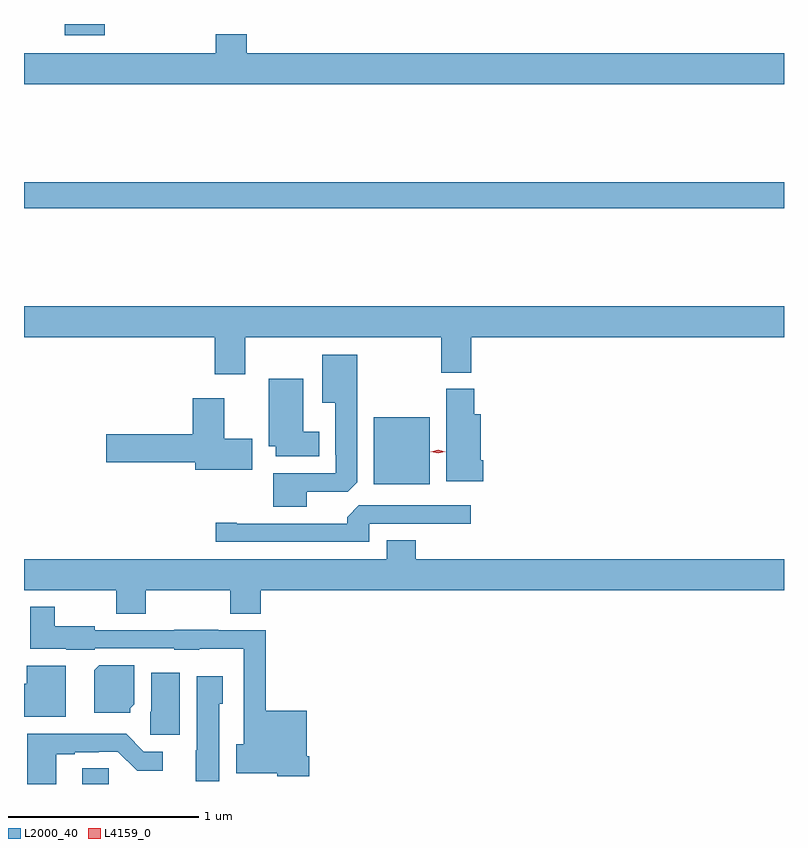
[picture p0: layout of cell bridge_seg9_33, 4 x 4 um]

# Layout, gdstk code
import gdstk
lib = gdstk.Library(unit=1e-6, precision=1e-09)
def R(c, l, rs):  # rectangles x0, y0, x1, y1
    for r in rs: c.add(gdstk.rectangle(r[:2], r[2:], *l))
def P(c, l, *ps):  # polygons
    for p in ps: c.add(gdstk.Polygon(p, *l))
L2000_40 = (2000, 40)
L4159_0 = (4159, 0)

bridge_seg9_33 = lib.new_cell('bridge_seg9_33')
R(bridge_seg9_33, L2000_40, [(984.833,1212.717,984.972,1212.8), (986.369,1214.294,986.662,1214.647), (984.527,1215.748,988.527,1215.884), (984.742,1216.659,984.952,1216.717)])
P(bridge_seg9_33, L2000_40, [(988.527,1216.564),(985.7,1216.564),(985.7,1216.663),(985.535,1216.663),(985.535,1216.564),(984.527,1216.564),(984.527,1216.4),(988.527,1216.4)],
  [(984.527,1215.068),(985.532,1215.068),(985.532,1214.874),(985.692,1214.874),(985.692,1215.068),(986.722,1215.068),(986.722,1214.881),(986.882,1214.881),(986.882,1215.068),(988.527,1215.068),(988.527,1215.232),(984.527,1215.232)],
  [(986.014,1214.256),(986.232,1214.256),(986.281,1214.305),(986.281,1214.977),(986.096,1214.977),(986.096,1214.723),(986.165,1214.723),(986.165,1214.449),(986.169,1214.449),(986.169,1214.352),(985.838,1214.352),(985.838,1214.177),(986.014,1214.177)],
  [(986.08,1214.572),(985.996,1214.572),(985.996,1214.851),(985.814,1214.851),(985.814,1214.495),(985.853,1214.495),(985.853,1214.441),(986.08,1214.441)],
  [(986.945,1214.422),(986.932,1214.422),(986.932,1214.662),(986.897,1214.662),(986.897,1214.796),(986.75,1214.796),(986.75,1214.31),(986.945,1214.31)],
  [(985.729,1214.535),(985.582,1214.535),(985.582,1214.746),(985.415,1214.746),(985.415,1214.558),(984.96,1214.558),(984.96,1214.411),(985.427,1214.411),(985.427,1214.372),(985.729,1214.372)],
  [(986.343,1214.088),(986.878,1214.088),(986.878,1214.184),(986.289,1214.184),(986.228,1214.122),(986.228,1214.088),(985.648,1214.088),(985.648,1214.093),(985.536,1214.093),(985.536,1213.992),(986.343,1213.992)],
  [(985.167,1213.736),(985.612,1213.736),(985.612,1213.612),(985.772,1213.612),(985.772,1213.736),(988.527,1213.736),(988.527,1213.9),(986.588,1213.9),(986.588,1213.999),(986.435,1213.999),(986.435,1213.9),(984.527,1213.9),(984.527,1213.736),(985.012,1213.736),(985.012,1213.612),(985.167,1213.612)],
  [(986.027,1212.862),(986.014,1212.862),(986.014,1213.102),(985.799,1213.102),(985.799,1213.527),(985.549,1213.527),(985.549,1213.529),(985.317,1213.529),(985.317,1213.527),(984.9,1213.527),(984.9,1213.546),(984.688,1213.546),(984.688,1213.651),(984.559,1213.651),(984.559,1213.43),(984.75,1213.43),(984.75,1213.424),(984.9,1213.424),(984.9,1213.431),(985.317,1213.431),(985.317,1213.424),(985.449,1213.424),(985.449,1213.43),(985.683,1213.43),(985.683,1212.926),(985.643,1212.926),(985.643,1212.773),(985.86,1212.773),(985.86,1212.758),(986.027,1212.758)],
  [(985.086,1213.116),(985.108,1213.138),(985.108,1213.342),(984.922,1213.342),(984.896,1213.316),(984.896,1213.091),(985.086,1213.091)],
  [(984.748,1213.34),(984.542,1213.34),(984.542,1213.244),(984.527,1213.244),(984.527,1213.07),(984.748,1213.07)],
  [(985.348,1213.303),(985.196,1213.303),(985.196,1213.098),(985.192,1213.098),(985.192,1212.975),(985.348,1212.975)],
  [(985.555,1213.14),(985.573,1213.14),(985.573,1213.285),(985.436,1213.285),(985.436,1212.894),(985.43,1212.894),(985.43,1212.732),(985.555,1212.732)],
  [(984.697,1212.873),(984.793,1212.873),(984.793,1212.885),(984.92,1212.885),(984.92,1212.888),(985.02,1212.888),(985.123,1212.786),(985.258,1212.786),(985.258,1212.888),(985.158,1212.888),(985.064,1212.982),(984.545,1212.982),(984.545,1212.717),(984.697,1212.717)])
P(bridge_seg9_33, L4159_0, [(986.706,1214.457),(986.669,1214.466),(986.669,1214.467),(986.669,1214.467),(986.706,1214.477),(986.743,1214.467),(986.744,1214.467),(986.743,1214.466)])

lib.write_gds('bridge_seg9_33.gds')
